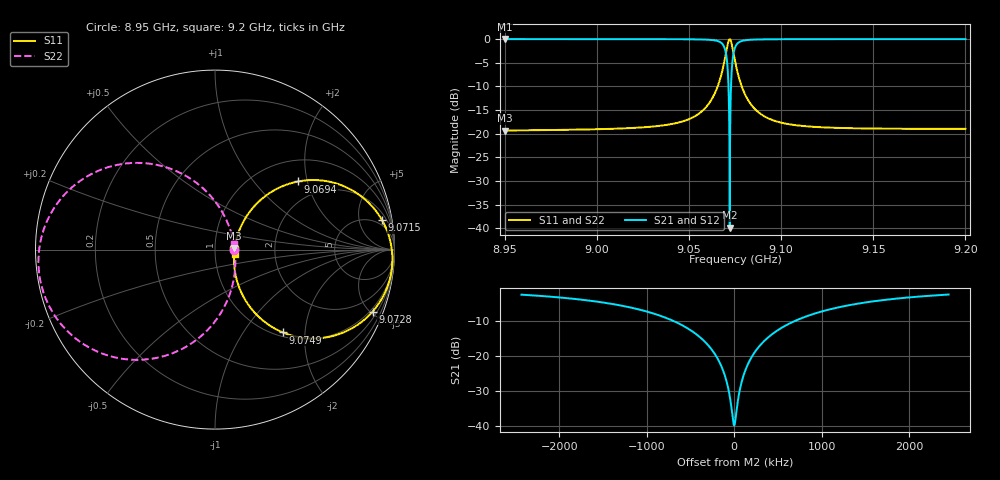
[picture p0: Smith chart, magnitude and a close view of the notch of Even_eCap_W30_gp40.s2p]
! Sonnet Data File
! From: emgraph Version : 16.52
! From Project: Resonator2_extremeCap
! Data is De-embedded
! Data File Written: 10/11/2017 17:55:29
!< HDATE 10/10/2017 20:37:37
!< MDATE 10/10/2017 20:37:37
!< PARAMS
!< Pwid1 = 2000.0
!< Pwid2 = 2000.0
!< Air_gap = 18.0
!< Width = 30.0
!< Gap = 40.0
!< END PARAMS
# GHZ S MA R 50.70000
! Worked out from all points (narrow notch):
!   1844 points, 8.95 GHz to 9.2 GHz, reference 50.7 ohm
!   highest |S21| = -0.05 dB at 8.95 GHz (marker M1); lowest = -39.9 dB at 9.0721 GHz (marker M2)
!   notch at M2: 39.8 dB deep, 414 kHz wide at half that depth
!   lowest |S11| = -19.4 dB at 8.95 GHz (marker M3), VSWR 1.24, Z = 62.9 + j0.981 ohm
!   |S11| at or under -10 dB: start of sweep to 9.0656 GHz; 9.0786 GHz to end of sweep
!   |S22| runs from -19.4 to -0.1 dB; largest |S21 - S12| = 0
!   S11 on the Smith chart (normalised r, x): 8.95 GHz: 1.24, +0.02; 9.0694 GHz: 1.48, +1.76; 9.0715 GHz: 3, +10; 9.0728 GHz: 0.82, -5.14; 9.0749 GHz: 1.07, -1.54; 9.2 GHz: 1.24, -0.07
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8.95  0.1077 4.1  0.9942 -88.3  0.9942 -88.3  0.1077 -0.7
!< P1 F=8.95 Eeff=(6.44502592 -2.9711e-5) Z0=(50.6183818 1.16783e-4) R=0.0 C=0.0
!< P2 F=8.95 Eeff=(6.44502592 -2.9711e-5) Z0=(50.6183818 1.16783e-4) R=0.0 C=0.0
8.9918  0.1102 7.5  0.9939 -89.2  0.9939 -89.2  0.1102 -5.9
9.0334  0.1202 18.1  0.9927 -91.2  0.9927 -91.2  0.1201 -20.4
9.0584  0.182 39.9  0.9831 -96.8  0.9831 -96.8  0.1817 -53.7
9.0662  0.3397 47.8  0.9395 -107.3  0.9395 -107.3  0.339 -82.8
9.0694  0.5996 39.3  0.7963 -124.8  0.7963 -124.8  0.5982 -109.8
9.0708  0.8305 23.6  0.5456 -144.3  0.5456 -144.3  0.8286 -134.0
9.071498  0.9453 10.0  0.3001 -159.1  0.3001 -159.1  0.9432 -151.9
9.071968  0.9872 -1.2  0.08712 -166.9  0.08712 -166.9  0.985 -165.9
9.072068  0.9902 -3.7  0.03936 -161.4  0.03936 -161.4  0.988 -169.0
9.072147  0.9909 -5.6  0.01014 -87.7  0.01014 -87.7  0.9887 -171.4
9.072229  0.9901 -7.7  0.04114 -15.1  0.04114 -15.1  0.9879 -174.0
9.072338  0.9867 -10.4  0.09296 -10.1  0.09296 -10.1  0.9845 -177.4
9.072809  0.9434 -21.5  0.3059 -18.2  0.3059 -18.2  0.9413 168.6
9.073607  0.8094 -36.6  0.577 -34.8  0.577 -34.8  0.8076 148.6
9.074904  0.5971 -50.6  0.7981 -52.4  0.7981 -52.4  0.5958 126.7
9.075  0.5844 -51.3  0.8077 -53.3  0.8077 -53.3  0.5831 125.5
9.079003  0.3016 -58.9  0.9527 -72.2  0.9527 -72.2  0.301 94.8
9.087618  0.1684 -48.4  0.9856 -81.3  0.9856 -81.3  0.1681 66.0
9.1168  0.118 -25.6  0.993 -86.4  0.993 -86.4  0.118 32.8
9.1584  0.1125 -16.8  0.9936 -88.1  0.9936 -88.1  0.1125 20.6
9.2  0.1121 -13.8  0.9937 -89.0  0.9937 -89.0  0.1121 15.8
